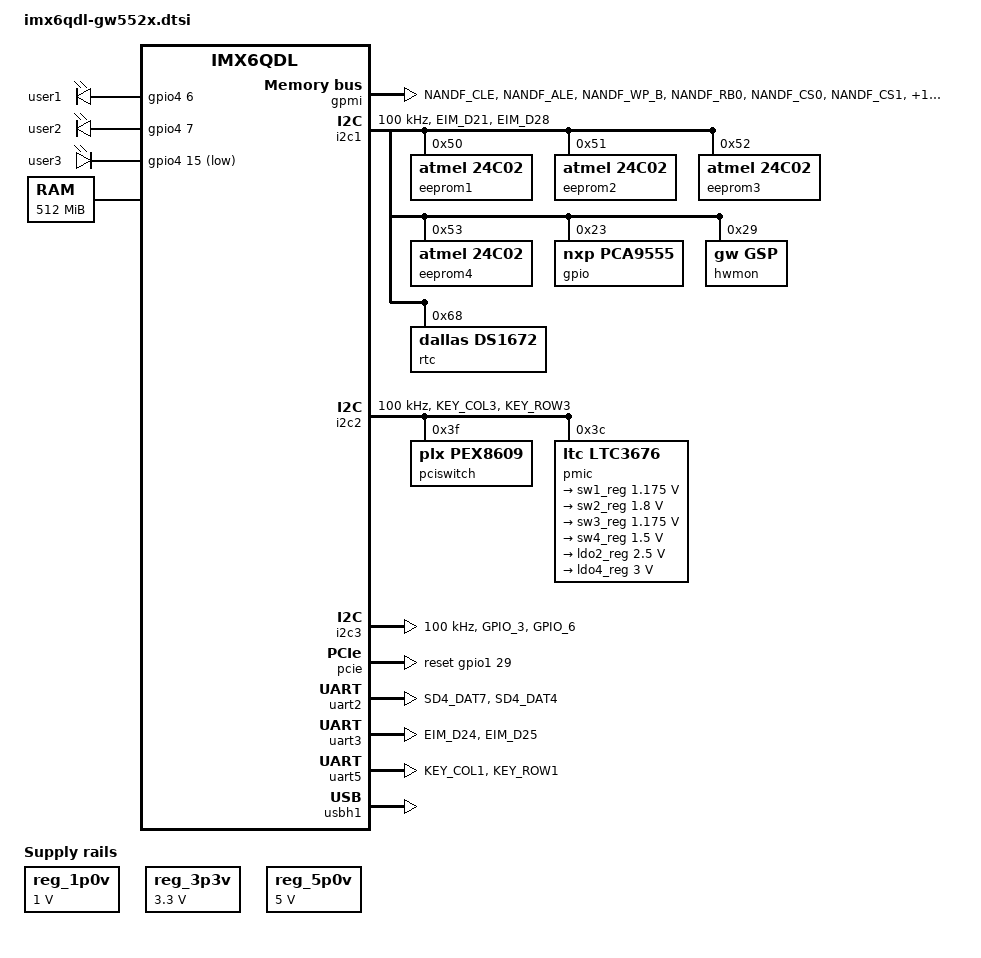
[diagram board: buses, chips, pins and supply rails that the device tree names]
/*
 * Copyright 2014 Gateworks Corporation
 *
 * The code contained herein is licensed under the GNU General Public
 * License. You may obtain a copy of the GNU General Public License
 * Version 2 or later at the following locations:
 *
 * http://www.opensource.org/licenses/gpl-license.html
 * http://www.gnu.org/copyleft/gpl.html
 */

/ {
	/* these are used by bootloader for disabling nodes */
	aliases {
		led0 = &led0;
		led1 = &led1;
		led2 = &led2;
		nand = &gpmi;
		usb0 = &usbh1;
	};

	chosen {
		bootargs = "console=ttymxc1,115200";
	};

	leds {
		compatible = "gpio-leds";

		led0: user1 {
			label = "user1";
			gpios = <&gpio4 6 0>; /* 102 -> MX6_PANLEDG */
			default-state = "on";
			linux,default-trigger = "heartbeat";
		};

		led1: user2 {
			label = "user2";
			gpios = <&gpio4 7 0>; /* 103 -> MX6_PANLEDR */
			default-state = "off";
		};

		led2: user3 {
			label = "user3";
			gpios = <&gpio4 15 1>; /* 111 - MX6_LOCLED# */
			default-state = "off";
		};
	};

	memory {
		reg = <0x10000000 0x20000000>;
	};

	regulators {
		compatible = "simple-bus";
		#address-cells = <1>;
		#size-cells = <0>;

		reg_1p0v: regulator@0 {
			compatible = "regulator-fixed";
			reg = <0>;
			regulator-name = "1P0V";
			regulator-min-microvolt = <1000000>;
			regulator-max-microvolt = <1000000>;
			regulator-always-on;
		};

		reg_3p3v: regulator@2 {
			compatible = "regulator-fixed";
			reg = <2>;
			regulator-name = "3P3V";
			regulator-min-microvolt = <3300000>;
			regulator-max-microvolt = <3300000>;
			regulator-always-on;
		};

		reg_5p0v: regulator@3 {
			compatible = "regulator-fixed";
			reg = <3>;
			regulator-name = "5P0V";
			regulator-min-microvolt = <5000000>;
			regulator-max-microvolt = <5000000>;
			regulator-always-on;
		};
	};
};

&gpmi {
	pinctrl-names = "default";
	pinctrl-0 = <&pinctrl_gpmi_nand>;
	status = "okay";
};

&i2c1 {
	clock-frequency = <100000>;
	pinctrl-names = "default";
	pinctrl-0 = <&pinctrl_i2c1>;
	status = "okay";

	eeprom1: eeprom@50 {
		compatible = "atmel,24c02";
		reg = <0x50>;
		pagesize = <16>;
	};

	eeprom2: eeprom@51 {
		compatible = "atmel,24c02";
		reg = <0x51>;
		pagesize = <16>;
	};

	eeprom3: eeprom@52 {
		compatible = "atmel,24c02";
		reg = <0x52>;
		pagesize = <16>;
	};

	eeprom4: eeprom@53 {
		compatible = "atmel,24c02";
		reg = <0x53>;
		pagesize = <16>;
	};

	gpio: pca9555@23 {
		compatible = "nxp,pca9555";
		reg = <0x23>;
		gpio-controller;
		#gpio-cells = <2>;
	};

	hwmon: gsc@29 {
		compatible = "gw,gsp";
		reg = <0x29>;
	};

	rtc: ds1672@68 {
		compatible = "dallas,ds1672";
		reg = <0x68>;
	};
};

&i2c2 {
	clock-frequency = <100000>;
	pinctrl-names = "default";
	pinctrl-0 = <&pinctrl_i2c2>;
	status = "okay";

	pciswitch: pex8609@3f {
		compatible = "plx,pex8609";
		reg = <0x3f>;
	};

	pmic: ltc3676@3c {
		compatible = "ltc,ltc3676";
		reg = <0x3c>;

		regulators {
			sw1_reg: ltc3676__sw1 {
				regulator-min-microvolt = <1175000>;
				regulator-max-microvolt = <1175000>;
				regulator-boot-on;
				regulator-always-on;
			};

			sw2_reg: ltc3676__sw2 {
				regulator-min-microvolt = <1800000>;
				regulator-max-microvolt = <1800000>;
				regulator-boot-on;
				regulator-always-on;
			};

			sw3_reg: ltc3676__sw3 {
				regulator-min-microvolt = <1175000>;
				regulator-max-microvolt = <1175000>;
				regulator-boot-on;
				regulator-always-on;
			};

			sw4_reg: ltc3676__sw4 {
				regulator-min-microvolt = <1500000>;
				regulator-max-microvolt = <1500000>;
				regulator-boot-on;
				regulator-always-on;
			};

			ldo2_reg: ltc3676__ldo2 {
				regulator-min-microvolt = <2500000>;
				regulator-max-microvolt = <2500000>;
				regulator-boot-on;
				regulator-always-on;
			};

			ldo4_reg: ltc3676__ldo4 {
				regulator-min-microvolt = <3000000>;
				regulator-max-microvolt = <3000000>;
			};
		};
	};
};

&i2c3 {
	clock-frequency = <100000>;
	pinctrl-names = "default";
	pinctrl-0 = <&pinctrl_i2c3>;
	status = "okay";
};

&iomuxc {
	pinctrl-names = "default";
	pinctrl-0 = <&pinctrl_hog>;

	imx6qdl-gw52xx {
		pinctrl_hog: hoggrp {
			fsl,pins = <
				MX6QDL_PAD_ENET_TXD1__GPIO1_IO29  0x80000000 /* PCIE_RST# */
				MX6QDL_PAD_GPIO_9__GPIO1_IO09     0x80000000 /* USBHUB_RST# */
				MX6QDL_PAD_GPIO_17__GPIO7_IO12    0x80000000 /* PCIESKT_WDIS# */
				MX6QDL_PAD_KEY_COL0__GPIO4_IO06   0x80000000 /* user1 led */
				MX6QDL_PAD_KEY_ROW0__GPIO4_IO07   0x80000000 /* user2 led */
				MX6QDL_PAD_KEY_ROW4__GPIO4_IO15   0x80000000 /* user3 led */
			 >;
		};

		pinctrl_gpmi_nand: gpminandgrp {
			fsl,pins = <
				MX6QDL_PAD_NANDF_CLE__NAND_CLE		0xb0b1
				MX6QDL_PAD_NANDF_ALE__NAND_ALE		0xb0b1
				MX6QDL_PAD_NANDF_WP_B__NAND_WP_B	0xb0b1
				MX6QDL_PAD_NANDF_RB0__NAND_READY_B	0xb000
				MX6QDL_PAD_NANDF_CS0__NAND_CE0_B	0xb0b1
				MX6QDL_PAD_NANDF_CS1__NAND_CE1_B	0xb0b1
				MX6QDL_PAD_SD4_CMD__NAND_RE_B		0xb0b1
				MX6QDL_PAD_SD4_CLK__NAND_WE_B		0xb0b1
				MX6QDL_PAD_NANDF_D0__NAND_DATA00	0xb0b1
				MX6QDL_PAD_NANDF_D1__NAND_DATA01	0xb0b1
				MX6QDL_PAD_NANDF_D2__NAND_DATA02	0xb0b1
				MX6QDL_PAD_NANDF_D3__NAND_DATA03	0xb0b1
				MX6QDL_PAD_NANDF_D4__NAND_DATA04	0xb0b1
				MX6QDL_PAD_NANDF_D5__NAND_DATA05	0xb0b1
				MX6QDL_PAD_NANDF_D6__NAND_DATA06	0xb0b1
				MX6QDL_PAD_NANDF_D7__NAND_DATA07	0xb0b1
			>;
		};

		pinctrl_i2c1: i2c1grp {
			fsl,pins = <
				MX6QDL_PAD_EIM_D21__I2C1_SCL		0x4001b8b1
				MX6QDL_PAD_EIM_D28__I2C1_SDA		0x4001b8b1
			>;
		};

		pinctrl_i2c2: i2c2grp {
			fsl,pins = <
				MX6QDL_PAD_KEY_COL3__I2C2_SCL		0x4001b8b1
				MX6QDL_PAD_KEY_ROW3__I2C2_SDA		0x4001b8b1
			>;
		};

		pinctrl_i2c3: i2c3grp {
			fsl,pins = <
				MX6QDL_PAD_GPIO_3__I2C3_SCL		0x4001b8b1
				MX6QDL_PAD_GPIO_6__I2C3_SDA		0x4001b8b1
			>;
		};

		pinctrl_uart2: uart2grp {
			fsl,pins = <
				MX6QDL_PAD_SD4_DAT7__UART2_TX_DATA	0x1b0b1
				MX6QDL_PAD_SD4_DAT4__UART2_RX_DATA	0x1b0b1
			>;
		};

		pinctrl_uart3: uart3grp {
			fsl,pins = <
				MX6QDL_PAD_EIM_D24__UART3_TX_DATA	0x1b0b1
				MX6QDL_PAD_EIM_D25__UART3_RX_DATA	0x1b0b1
			>;
		};

		pinctrl_uart5: uart5grp {
			fsl,pins = <
				MX6QDL_PAD_KEY_COL1__UART5_TX_DATA	0x1b0b1
				MX6QDL_PAD_KEY_ROW1__UART5_RX_DATA	0x1b0b1
			>;
		};
	};
};

&pcie {
	reset-gpio = <&gpio1 29 0>;
	status = "okay";
};

&uart2 {
	pinctrl-names = "default";
	pinctrl-0 = <&pinctrl_uart2>;
	status = "okay";
};

&uart3 {
	pinctrl-names = "default";
	pinctrl-0 = <&pinctrl_uart3>;
	status = "okay";
};

&uart5 {
	pinctrl-names = "default";
	pinctrl-0 = <&pinctrl_uart5>;
	status = "okay";
};

&usbh1 {
	status = "okay";
};
